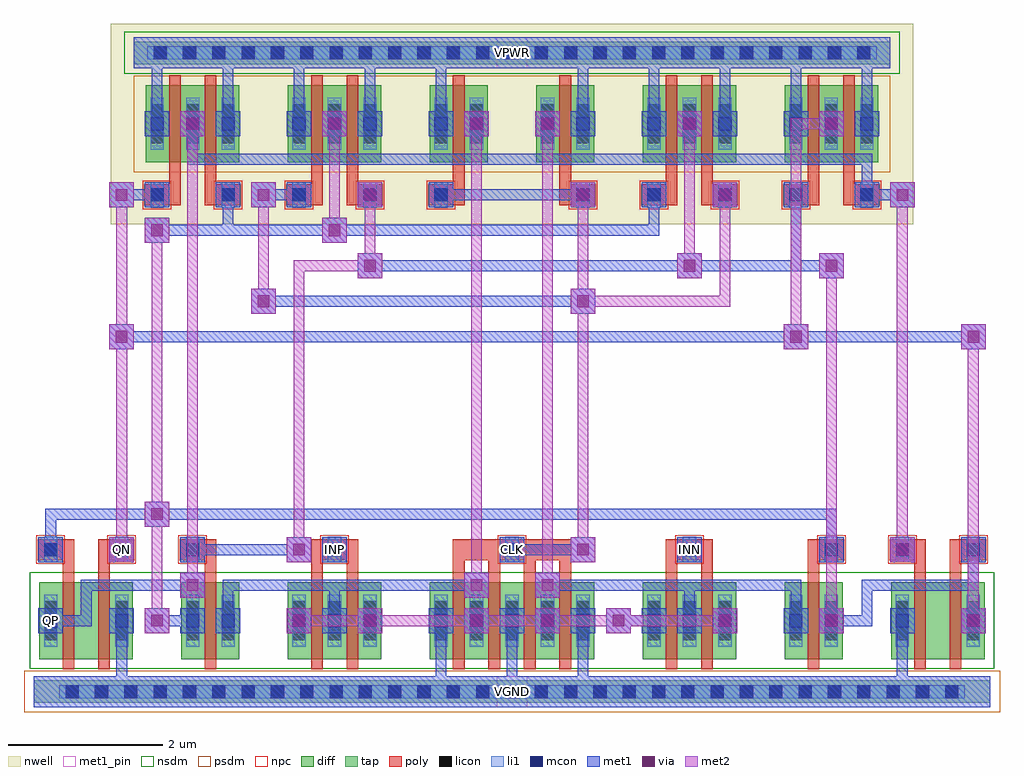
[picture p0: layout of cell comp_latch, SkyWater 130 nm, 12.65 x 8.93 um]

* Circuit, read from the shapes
.subckt comp_latch CLK INN INP QN QP VGND VPWR
XM1 n1 n2 QP VGND sky130_fd_pr__nfet_01v8 w=1 l=0.15
XM2 VGND QN n1 VGND sky130_fd_pr__nfet_01v8 w=1 l=0.15
XM3 n3 n4 n2 VGND sky130_fd_pr__nfet_01v8 w=1 l=0.15
XM4 n3 INP n5 VGND sky130_fd_pr__nfet_01v8 w=1 l=0.15 m=2
XM5 n5 CLK VGND VGND sky130_fd_pr__nfet_01v8 w=1 l=0.15 m=4
XM6 n6 INN n5 VGND sky130_fd_pr__nfet_01v8 w=1 l=0.15 m=2
XM7 n4 n2 n6 VGND sky130_fd_pr__nfet_01v8 w=1 l=0.15
XM8 n7 QP VGND VGND sky130_fd_pr__nfet_01v8 w=1 l=0.15
XM9 QN n4 n7 VGND sky130_fd_pr__nfet_01v8 w=1 l=0.15
XM10 QP QN VPWR VPWR sky130_fd_pr__pfet_01v8 w=1 l=0.15
XM11 VPWR n2 QP VPWR sky130_fd_pr__pfet_01v8 w=1 l=0.15
XM12 n2 CLK VPWR VPWR sky130_fd_pr__pfet_01v8 w=1 l=0.15
XM13 VPWR n4 n2 VPWR sky130_fd_pr__pfet_01v8 w=1 l=0.15
XM14 n3 CLK VPWR VPWR sky130_fd_pr__pfet_01v8 w=1 l=0.15
XM15 VPWR CLK n6 VPWR sky130_fd_pr__pfet_01v8 w=1 l=0.15
XM16 n4 n2 VPWR VPWR sky130_fd_pr__pfet_01v8 w=1 l=0.15
XM17 VPWR CLK n4 VPWR sky130_fd_pr__pfet_01v8 w=1 l=0.15
XM18 QN n4 VPWR VPWR sky130_fd_pr__pfet_01v8 w=1 l=0.15
XM19 VPWR QP QN VPWR sky130_fd_pr__pfet_01v8 w=1 l=0.15
.ends

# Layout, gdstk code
import gdstk
lib = gdstk.Library(unit=1e-6, precision=1e-09)
def R(c, l, rs):  # rectangles x0, y0, x1, y1
    for r in rs: c.add(gdstk.rectangle(r[:2], r[2:], *l))
def A(c, l, x, y, w, h, nx, ny, dx, dy):  # array of equal rectangles
    R(c, l, [(x+i*dx, y+j*dy, x+i*dx+w, y+j*dy+h) for i in range(nx) for j in range(ny)])
nwell = (64, 20)
diff = (65, 20)
tap = (65, 44)
poly = (66, 20)
licon = (66, 44)
li1 = (67, 20)
mcon = (67, 44)
met1_pin = (68, 16)
met1 = (68, 20)
via = (68, 44)
met2 = (69, 20)
nsdm = (93, 44)
psdm = (94, 20)
npc = (95, 20)

comp_latch = lib.new_cell('comp_latch')
R(comp_latch, nwell, [(-5.2,5.14,5.2,7.74)])
R(comp_latch, diff, [(-6.125,-0.5,-4.915,0.5), (-4.285,-0.5,-3.535,0.5), (-2.905,-0.5,-1.695,0.5), (-1.065,-0.5,1.065,0.5), (1.695,-0.5,2.905,0.5), (3.535,-0.5,4.285,0.5), (4.915,-0.5,6.125,0.5), (-4.745,5.94,-3.535,6.94), (-2.905,5.94,-1.695,6.94), (-1.065,5.94,-0.315,6.94), (0.315,5.94,1.065,6.94), (1.695,5.94,2.905,6.94), (3.535,5.94,4.745,6.94)])
R(comp_latch, tap, [(-6.2,-1.065,6.2,-0.775), (-4.9,7.215,4.9,7.505)])
A(comp_latch, poly, -5.365, -0.63, 0.15, 1.55, 3, 1, 1.38, 0)
A(comp_latch, poly, -0.765, -0.63, 0.15, 1.55, 4, 1, 0.46, 0)
A(comp_latch, poly, 2.455, -0.63, 0.15, 1.55, 3, 1, 1.38, 0)
A(comp_latch, poly, -2.145, 5.52, 0.15, 1.55, 4, 1, 1.38, 0)
R(comp_latch, poly, [(-5.825,-0.63,-5.675,0.92), (-2.145,-0.63,-1.995,0.92), (1.995,-0.63,2.145,0.92), (5.675,-0.63,5.825,0.92), (-6.145,0.785,-5.675,1.055), (-5.365,0.785,-4.895,1.055), (-4.305,0.785,-3.835,1.055), (-2.605,0.785,-1.995,1.055), (-0.765,0.785,0.765,1.055), (1.995,0.785,2.605,1.055), (3.835,0.785,4.305,1.055), (4.895,0.785,5.365,1.055), (5.675,0.785,6.145,1.055), (-4.765,5.385,-4.295,5.655), (-3.985,5.385,-3.515,5.655), (-2.925,5.385,-2.455,5.655), (-2.145,5.385,-1.675,5.655), (-1.085,5.385,-0.615,5.655), (0.615,5.385,1.085,5.655), (1.675,5.385,2.145,5.655), (2.455,5.385,2.925,5.655), (3.515,5.385,3.985,5.655), (4.295,5.385,4.765,5.655), (-4.445,5.52,-4.295,7.07), (-3.985,5.52,-3.835,7.07), (-2.605,5.52,-2.455,7.07), (2.455,5.52,2.605,7.07), (3.835,5.52,3.985,7.07), (4.295,5.52,4.445,7.07)])
A(comp_latch, licon, -5.785, -1.005, 0.17, 0.17, 31, 1, 0.38, 0)
A(comp_latch, licon, -6.065, -0.255, 0.17, 0.17, 3, 2, 0.92, 0.34)
A(comp_latch, licon, -2.845, -0.255, 0.17, 0.17, 3, 2, 0.46, 0.34)
A(comp_latch, licon, -1.005, -0.255, 0.17, 0.17, 5, 2, 0.46, 0.34)
A(comp_latch, licon, 1.755, -0.255, 0.17, 0.17, 3, 2, 0.46, 0.34)
A(comp_latch, licon, 4.055, -0.255, 0.17, 0.17, 3, 2, 0.92, 0.34)
A(comp_latch, licon, -6.065, 0.835, 0.17, 0.17, 3, 1, 0.92, 0)
A(comp_latch, licon, -2.385, 0.835, 0.17, 0.17, 3, 1, 2.3, 0)
A(comp_latch, licon, 4.055, 0.835, 0.17, 0.17, 3, 1, 0.92, 0)
A(comp_latch, licon, -4.685, 5.435, 0.17, 0.17, 5, 1, 0.92, 0)
A(comp_latch, licon, 0.835, 5.435, 0.17, 0.17, 5, 1, 0.92, 0)
A(comp_latch, licon, -4.685, 6.185, 0.17, 0.17, 3, 2, 0.46, 0.34)
A(comp_latch, licon, -2.845, 6.185, 0.17, 0.17, 3, 2, 0.46, 0.34)
A(comp_latch, licon, 1.755, 6.185, 0.17, 0.17, 3, 2, 0.46, 0.34)
A(comp_latch, licon, 3.595, 6.185, 0.17, 0.17, 3, 2, 0.46, 0.34)
A(comp_latch, licon, -4.645, 7.275, 0.17, 0.17, 25, 1, 0.38, 0)
R(comp_latch, licon, [(-3.765,-0.255,-3.595,-0.085), (3.595,-0.255,3.765,-0.085), (-3.765,0.085,-3.595,0.255), (3.595,0.085,3.765,0.255), (-1.005,6.185,-0.835,6.355), (-0.545,6.185,-0.375,6.355), (0.375,6.185,0.545,6.355), (0.835,6.185,1.005,6.355), (-1.005,6.525,-0.835,6.695), (-0.545,6.525,-0.375,6.695), (0.375,6.525,0.545,6.695), (0.835,6.525,1.005,6.695)])
A(comp_latch, li1, -6.065, -0.335, 0.17, 0.67, 3, 1, 0.92, 0)
A(comp_latch, li1, -2.845, -0.335, 0.17, 0.67, 3, 2, 0.46, 6.44)
A(comp_latch, li1, -1.005, -0.335, 0.17, 0.67, 5, 1, 0.46, 0)
A(comp_latch, li1, 1.755, -0.335, 0.17, 0.67, 3, 2, 0.46, 6.44)
A(comp_latch, li1, 4.055, -0.335, 0.17, 0.67, 3, 1, 0.92, 0)
A(comp_latch, li1, -6.065, 0.755, 0.17, 0.33, 3, 1, 0.92, 0)
A(comp_latch, li1, -2.385, 0.755, 0.17, 0.33, 3, 1, 2.3, 0)
A(comp_latch, li1, 4.055, 0.755, 0.17, 0.33, 3, 1, 0.92, 0)
A(comp_latch, li1, -4.685, 5.355, 0.17, 0.33, 5, 1, 0.92, 0)
A(comp_latch, li1, 0.835, 5.355, 0.17, 0.33, 5, 1, 0.92, 0)
A(comp_latch, li1, -4.685, 6.105, 0.17, 0.67, 3, 1, 0.46, 0)
A(comp_latch, li1, 3.595, 6.105, 0.17, 0.67, 3, 1, 0.46, 0)
R(comp_latch, li1, [(-5.865,-1.005,5.865,-0.835), (-3.765,-0.335,-3.595,0.335), (3.595,-0.335,3.765,0.335), (-1.005,6.105,-0.835,6.775), (-0.545,6.105,-0.375,6.775), (0.375,6.105,0.545,6.775), (0.835,6.105,1.005,6.775), (-4.725,7.275,4.725,7.445)])
A(comp_latch, mcon, -5.785, -1.005, 0.17, 0.17, 31, 1, 0.38, 0)
A(comp_latch, mcon, -6.065, -0.085, 0.17, 0.17, 3, 2, 0.92, 0.92)
A(comp_latch, mcon, -2.845, -0.085, 0.17, 0.17, 3, 2, 0.46, 6.44)
A(comp_latch, mcon, -1.005, -0.085, 0.17, 0.17, 5, 1, 0.46, 0)
A(comp_latch, mcon, 1.755, -0.085, 0.17, 0.17, 3, 2, 0.46, 6.44)
A(comp_latch, mcon, 4.055, -0.085, 0.17, 0.17, 3, 2, 0.92, 0.92)
A(comp_latch, mcon, -2.385, 0.835, 0.17, 0.17, 3, 1, 2.3, 0)
A(comp_latch, mcon, -4.685, 5.435, 0.17, 0.17, 5, 1, 0.92, 0)
A(comp_latch, mcon, 0.835, 5.435, 0.17, 0.17, 5, 1, 0.92, 0)
A(comp_latch, mcon, -4.685, 6.355, 0.17, 0.17, 3, 1, 0.46, 0)
A(comp_latch, mcon, 3.595, 6.355, 0.17, 0.17, 3, 1, 0.46, 0)
A(comp_latch, mcon, -4.645, 7.275, 0.17, 0.17, 25, 1, 0.38, 0)
R(comp_latch, mcon, [(-3.765,-0.085,-3.595,0.085), (3.595,-0.085,3.765,0.085), (-1.005,6.355,-0.835,6.525), (-0.545,6.355,-0.375,6.525), (0.375,6.355,0.545,6.525), (0.835,6.355,1.005,6.525)])
A(comp_latch, met1_pin, -2.46, 0.76, 0.32, 0.32, 3, 1, 2.3, 0)
R(comp_latch, met1_pin, [(-0.2,-1.12,0.2,-0.72), (-6.14,-0.16,-5.82,0.16), (-5.22,0.76,-4.9,1.08), (-0.2,7.16,0.2,7.56)])
A(comp_latch, met1, -0.99, -0.92, 0.14, 0.92, 3, 1, 0.92, 0)
A(comp_latch, met1, -5.22, -0.16, 0.32, 0.32, 4, 1, 0.46, 0)
A(comp_latch, met1, -2.92, -0.16, 0.32, 0.32, 3, 1, 0.46, 0)
A(comp_latch, met1, -0.62, -0.16, 0.32, 0.32, 3, 1, 0.46, 0)
A(comp_latch, met1, 0.3, -0.16, 0.32, 0.32, 6, 1, 0.46, 0)
A(comp_latch, met1, 3.98, -0.16, 0.32, 0.32, 3, 1, 0.92, 0)
A(comp_latch, met1, -5.59, 0.39, 0.6, 0.14, 3, 1, 0.46, 0)
A(comp_latch, met1, -3.75, 0.39, 0.6, 0.14, 7, 1, 0.46, 0)
A(comp_latch, met1, 0.39, 0.39, 0.6, 0.14, 7, 1, 0.46, 0)
A(comp_latch, met1, 4.53, 0.39, 0.6, 0.14, 3, 1, 0.46, 0)
A(comp_latch, met1, -4.21, 0.85, 0.6, 0.14, 3, 1, 0.46, 0)
A(comp_latch, met1, -6.05, 1.31, 0.6, 0.14, 22, 1, 0.46, 0)
A(comp_latch, met1, -5.13, 3.61, 0.6, 0.14, 24, 1, 0.46, 0)
A(comp_latch, met1, -3.29, 4.07, 0.6, 0.14, 9, 1, 0.46, 0)
A(comp_latch, met1, -1.91, 4.53, 0.6, 0.14, 13, 1, 0.46, 0)
A(comp_latch, met1, -4.67, 4.99, 0.6, 0.14, 14, 1, 0.46, 0)
A(comp_latch, met1, -3.84, 5.36, 0.32, 0.32, 3, 1, 0.46, 0)
A(comp_latch, met1, 0.76, 5.36, 0.32, 0.32, 3, 1, 0.92, 0)
A(comp_latch, met1, 2.6, 5.36, 0.32, 0.32, 3, 1, 0.92, 0)
A(comp_latch, met1, -0.99, 5.45, 0.6, 0.14, 4, 1, 0.46, 0)
A(comp_latch, met1, -4.21, 5.91, 0.6, 0.14, 19, 1, 0.46, 0)
A(comp_latch, met1, -4.67, 6.44, 0.14, 0.92, 5, 1, 0.92, 0)
A(comp_latch, met1, 0.85, 6.44, 0.14, 0.92, 5, 1, 0.92, 0)
R(comp_latch, met1, [(-6.2,-1.12,6.2,-0.72), (-5.13,-0.92,-4.99,0), (4.99,-0.92,5.13,0), (-6.14,-0.16,-5.82,0.16), (-2.92,-0.16,-2.6,0.16), (-2,-0.16,-1.68,0.16), (-1.08,-0.16,-0.76,0.16), (-0.62,-0.16,-0.3,0.16), (2.6,-0.16,2.92,0.16), (3.52,-0.16,3.84,0.16), (3.98,-0.16,4.3,0.16), (5.82,-0.16,6.14,0.16), (-6.05,-0.07,-5.45,0.07), (-5.59,-0.07,-5.45,0.53), (-4.67,-0.07,-4.07,0.07), (-3.75,-0.07,-3.61,0.53), (-2.37,-0.07,-2.23,0.53), (1.31,-0.07,1.91,0.07), (2.23,-0.07,2.37,0.53), (3.61,-0.07,3.75,0.53), (4.07,-0.07,4.67,0.07), (4.53,-0.07,4.67,0.53), (-4.3,0.3,-3.98,0.62), (-0.62,0.3,-0.3,0.62), (0.3,0.3,0.62,0.62), (5.91,0.39,6.05,0.99), (-6.14,0.76,-5.82,1.08), (-5.22,0.76,-4.9,1.08), (-5.22,0.76,-4.9,1.08), (-4.3,0.76,-3.98,1.08), (-2.92,0.76,-2.6,1.08), (-2.46,0.76,-2.14,1.08), (-0.16,0.76,0.16,1.08), (0.76,0.76,1.08,1.08), (2.14,0.76,2.46,1.08), (3.98,0.76,4.3,1.08), (4.9,0.76,5.22,1.08), (4.9,0.76,5.22,1.08), (5.82,0.76,6.14,1.08), (-6.05,0.85,-5.91,1.45), (-0.07,0.85,0.53,0.99), (0.39,0.85,0.99,0.99), (4.07,0.85,4.21,1.45), (-4.76,1.22,-4.44,1.54), (-5.22,3.52,-4.9,3.84), (3.52,3.52,3.84,3.84), (5.82,3.52,6.14,3.84), (-3.38,3.98,-3.06,4.3), (0.76,3.98,1.08,4.3), (-2,4.44,-1.68,4.76), (2.14,4.44,2.46,4.76), (3.98,4.44,4.3,4.76), (3.61,4.53,3.75,5.13), (-4.76,4.9,-4.44,5.22), (-2.46,4.9,-2.14,5.22), (-3.75,4.99,-3.61,5.59), (1.77,4.99,1.91,5.59), (3.61,4.99,3.75,5.59), (-5.22,5.36,-4.9,5.68), (-4.76,5.36,-4.44,5.68), (-2,5.36,-1.68,5.68), (-2,5.36,-1.68,5.68), (-1.08,5.36,-0.76,5.68), (0.76,5.36,1.08,5.68), (4.9,5.36,5.22,5.68), (-5.13,5.45,-4.53,5.59), (-3.29,5.45,-2.69,5.59), (4.53,5.45,5.13,5.59), (4.53,5.45,4.67,6.05), (-4.21,5.91,-4.07,6.51), (-4.76,6.28,-4.44,6.6), (-4.3,6.28,-3.98,6.6), (-4.3,6.28,-3.98,6.6), (-3.84,6.28,-3.52,6.6), (-2.92,6.28,-2.6,6.6), (-2.46,6.28,-2.14,6.6), (-2.46,6.28,-2.14,6.6), (-2,6.28,-1.68,6.6), (-1.08,6.28,-0.76,6.6), (-0.62,6.28,-0.3,6.6), (-0.62,6.28,-0.3,6.6), (0.3,6.28,0.62,6.6), (0.3,6.28,0.62,6.6), (0.76,6.28,1.08,6.6), (1.68,6.28,2,6.6), (2.14,6.28,2.46,6.6), (2.14,6.28,2.46,6.6), (2.6,6.28,2.92,6.6), (3.52,6.28,3.84,6.6), (3.98,6.28,4.3,6.6), (3.98,6.28,4.3,6.6), (4.44,6.28,4.76,6.6), (-4.9,7.16,4.9,7.56)])
A(comp_latch, via, -0.535, -0.075, 0.15, 0.15, 3, 1, 0.92, 0)
A(comp_latch, via, -4.215, 6.365, 0.15, 0.15, 3, 1, 1.84, 0)
A(comp_latch, via, 0.385, 6.365, 0.15, 0.15, 3, 1, 1.84, 0)
R(comp_latch, via, [(-4.675,-0.075,-4.525,0.075), (-2.835,-0.075,-2.685,0.075), (-1.915,-0.075,-1.765,0.075), (2.685,-0.075,2.835,0.075), (4.065,-0.075,4.215,0.075), (5.905,-0.075,6.055,0.075), (-4.215,0.385,-4.065,0.535), (-0.535,0.385,-0.385,0.535), (0.385,0.385,0.535,0.535), (-5.135,0.845,-4.985,0.995), (-2.835,0.845,-2.685,0.995), (0.845,0.845,0.995,0.995), (4.985,0.845,5.135,0.995), (-4.675,1.305,-4.525,1.455), (-5.135,3.605,-4.985,3.755), (3.605,3.605,3.755,3.755), (5.905,3.605,6.055,3.755), (-3.295,4.065,-3.145,4.215), (0.845,4.065,0.995,4.215), (-1.915,4.525,-1.765,4.675), (2.225,4.525,2.375,4.675), (4.065,4.525,4.215,4.675), (-4.675,4.985,-4.525,5.135), (-2.375,4.985,-2.225,5.135), (-5.135,5.445,-4.985,5.595), (-3.295,5.445,-3.145,5.595), (-1.915,5.445,-1.765,5.595), (0.845,5.445,0.995,5.595), (2.685,5.445,2.835,5.595), (4.985,5.445,5.135,5.595)])
A(comp_latch, met2, -0.62, -0.16, 0.32, 0.32, 3, 1, 0.92, 0)
A(comp_latch, met2, -2.83, -0.07, 0.6, 0.14, 12, 1, 0.46, 0)
A(comp_latch, met2, -0.53, 0.39, 0.14, 0.6, 1, 9, 0, 0.46)
A(comp_latch, met2, 0.39, 0.39, 0.14, 0.6, 1, 13, 0, 0.46)
A(comp_latch, met2, -5.13, 0.85, 0.14, 0.6, 3, 9, 0.46, 0.46)
A(comp_latch, met2, -2.83, 0.85, 0.14, 0.6, 1, 8, 0, 0.46)
A(comp_latch, met2, 0.85, 0.85, 0.14, 0.6, 1, 10, 0, 0.46)
A(comp_latch, met2, 4.07, 0.85, 0.14, 0.6, 3, 6, 0.92, 0.46)
A(comp_latch, met2, 3.61, 3.61, 0.14, 0.6, 1, 6, 0, 0.46)
A(comp_latch, met2, 4.99, 3.61, 0.14, 0.6, 1, 4, 0, 0.46)
A(comp_latch, met2, 0.85, 4.07, 0.6, 0.14, 4, 1, 0.46, 0)
A(comp_latch, met2, 2.69, 4.07, 0.14, 0.6, 1, 3, 0, 0.46)
A(comp_latch, met2, -3.29, 4.53, 0.14, 0.6, 3, 1, 1.38, 0)
A(comp_latch, met2, 2.23, 4.53, 0.14, 0.6, 1, 4, 0, 0.46)
A(comp_latch, met2, -5.13, 4.99, 0.14, 0.6, 4, 1, 0.92, 0)
A(comp_latch, met2, -4.21, 5.45, 0.14, 0.6, 3, 2, 1.84, 0.46)
A(comp_latch, met2, -4.3, 6.28, 0.32, 0.32, 3, 1, 1.84, 0)
A(comp_latch, met2, 0.3, 6.28, 0.32, 0.32, 3, 1, 1.84, 0)
R(comp_latch, met2, [(-4.76,-0.16,-4.44,0.16), (-2.92,-0.16,-2.6,0.16), (-2,-0.16,-1.68,0.16), (2.6,-0.16,2.92,0.16), (3.98,-0.16,4.3,0.16), (5.82,-0.16,6.14,0.16), (-4.67,-0.07,-4.53,0.53), (4.07,-0.07,4.21,0.53), (5.91,-0.07,6.05,0.53), (-4.3,0.3,-3.98,0.62), (-0.62,0.3,-0.3,0.62), (0.3,0.3,0.62,0.62), (-4.67,0.39,-4.53,0.99), (-4.21,0.39,-4.07,0.99), (4.07,0.39,4.21,0.99), (5.91,0.39,6.05,0.99), (-5.22,0.76,-4.9,1.08), (-2.92,0.76,-2.6,1.08), (0.76,0.76,1.08,1.08), (4.9,0.76,5.22,1.08), (-4.76,1.22,-4.44,1.54), (-5.22,3.52,-4.9,3.84), (3.52,3.52,3.84,3.84), (5.82,3.52,6.14,3.84), (4.07,3.61,4.21,4.21), (-3.38,3.98,-3.06,4.3), (0.76,3.98,1.08,4.3), (-3.29,4.07,-3.15,4.67), (4.07,4.07,4.21,4.67), (-2,4.44,-1.68,4.76), (2.14,4.44,2.46,4.76), (3.98,4.44,4.3,4.76), (-2.83,4.53,-2.23,4.67), (-2.37,4.53,-1.77,4.67), (-4.76,4.9,-4.44,5.22), (-2.46,4.9,-2.14,5.22), (-1.91,4.99,-1.77,5.59), (-0.53,4.99,-0.39,5.59), (-5.22,5.36,-4.9,5.68), (-3.38,5.36,-3.06,5.68), (-2,5.36,-1.68,5.68), (0.76,5.36,1.08,5.68), (2.6,5.36,2.92,5.68), (4.9,5.36,5.22,5.68), (3.61,6.37,4.21,6.51)])
R(comp_latch, nsdm, [(-6.25,-0.625,6.25,0.625), (-5.025,7.09,5.025,7.63)])
R(comp_latch, psdm, [(-6.325,-1.19,6.325,-0.65), (-4.9,5.815,4.9,7.065)])
A(comp_latch, npc, -6.165, 0.735, 0.37, 0.37, 3, 1, 0.92, 0)
A(comp_latch, npc, -2.485, 0.735, 0.37, 0.37, 3, 1, 2.3, 0)
A(comp_latch, npc, 3.955, 0.735, 0.37, 0.37, 3, 1, 0.92, 0)
A(comp_latch, npc, -4.785, 5.335, 0.37, 0.37, 5, 1, 0.92, 0)
A(comp_latch, npc, 0.735, 5.335, 0.37, 0.37, 5, 1, 0.92, 0)
comp_latch.add(gdstk.Label('CLK', (0,0.92), layer=68, texttype=16))
comp_latch.add(gdstk.Label('INP', (-2.3,0.92), layer=68, texttype=16))
comp_latch.add(gdstk.Label('INN', (2.3,0.92), layer=68, texttype=16))
comp_latch.add(gdstk.Label('QP', (-5.98,0), layer=68, texttype=16))
comp_latch.add(gdstk.Label('QN', (-5.06,0.92), layer=68, texttype=16))
comp_latch.add(gdstk.Label('VGND', (0,-0.92), layer=68, texttype=16))
comp_latch.add(gdstk.Label('VPWR', (0,7.36), layer=68, texttype=16))
comp_latch.add(gdstk.Label('CLK', (0,0.92), layer=68, texttype=5))
comp_latch.add(gdstk.Label('INP', (-2.3,0.92), layer=68, texttype=5))
comp_latch.add(gdstk.Label('INN', (2.3,0.92), layer=68, texttype=5))
comp_latch.add(gdstk.Label('QP', (-5.98,0), layer=68, texttype=5))
comp_latch.add(gdstk.Label('QN', (-5.06,0.92), layer=68, texttype=5))
comp_latch.add(gdstk.Label('VGND', (0,-0.92), layer=68, texttype=5))
comp_latch.add(gdstk.Label('VPWR', (0,7.36), layer=68, texttype=5))

lib.write_gds('comp_latch.gds')
